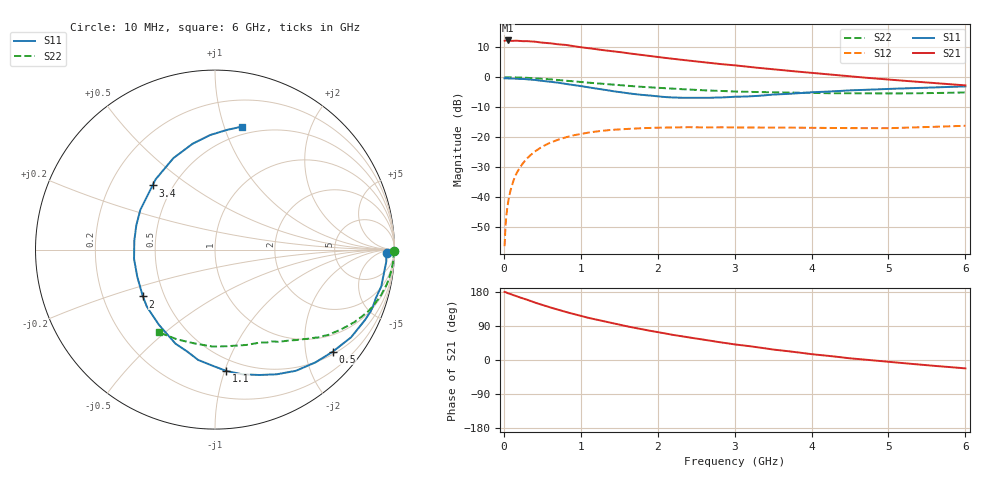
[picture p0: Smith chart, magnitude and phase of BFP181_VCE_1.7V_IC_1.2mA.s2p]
! Infineon Technologies  Discrete & RF Semiconductors
! BFP181
! VCE = 1.7 V,  IC =  1.2 mA
! Common Emitter S-Parameters:  Jan 2016
# GHz  S  MA  R  50
!  f  S11  S21  S12  S22
! GHz  MAG  ANG  MAG  ANG  MAG  ANG  MAG  ANG
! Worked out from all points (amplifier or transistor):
!   210 points, 10 MHz to 6 GHz, reference 50 ohm
!   highest |S21| = 12.3 dB at 50 MHz (marker M1)
!   |S21| within 3 dB of that: start of sweep to 1.221 GHz
!   unconditionally stable (mu >= 1): 2.837 GHz to end of sweep
!   at 185 MHz: K = 0.08, MSG = 21.7 dB, |S12| = -31.2 dB
!   at 1.52 GHz: K = 0.58, MSG = 12.9 dB, |S12| = -17.4 dB
!   at 6 GHz: K = 1.26, MAG = 3.7 dB, |S12| = -16.2 dB
!   S11 on the Smith chart (normalised r, x): 10 MHz: 39, -15; 500 MHz: 0.56, -2.58; 1.1 GHz: 0.40, -1.01; 2 GHz: 0.38, -0.26; 3.4 GHz: 0.39, +0.37; 6 GHz: 0.43, +1.15
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0.01  0.9559 -1.0  4.068 179.5  0.0015 85.9  0.998 -0.3
0.025  0.9551 -2.2  4.105 178.8  0.0037 89.5  0.9952 -0.9
0.05  0.9567 -4.0  4.112 176.5  0.0073 88.5  0.9957 -2.0
0.11  0.9492 -9.2  4.045 172.3  0.0163 84.1  0.994 -4.2
0.19  0.9384 -15.8  4.051 166.5  0.0282 79.7  0.9878 -7.3
0.3  0.9234 -25.1  4.007 159.3  0.0437 74.0  0.9764 -11.4
0.4  0.9019 -32.8  3.929 151.8  0.0569 69.2  0.9607 -15.1
0.5  0.8683 -40.9  3.78 145.2  0.069 64.0  0.9426 -18.4
0.6  0.8415 -48.3  3.7 139.0  0.0804 59.2  0.9222 -21.7
0.8  0.7754 -63.6  3.469 127.0  0.0985 51.0  0.8762 -27.4
1.02  0.7039 -79.0  3.147 115.5  0.1139 42.7  0.8275 -32.7
1.1  0.6789 -84.7  3.072 111.2  0.1188 39.9  0.8106 -34.5
1.5  0.5684 -112.8  2.641 92.9  0.1341 29.1  0.7342 -42.1
1.78  0.5087 -132.1  2.363 81.5  0.1402 23.3  0.6918 -46.3
2  0.4793 -147.0  2.177 73.5  0.1435 19.4  0.6647 -49.4
2.02  0.476 -148.3  2.161 72.8  0.1436 19.1  0.6623 -49.7
2.56  0.4508 176.3  1.801 54.8  0.1451 11.8  0.6068 -57.5
3.1  0.4737 147.4  1.529 38.8  0.1443 6.8  0.572 -65.4
3.4  0.4988 134.2  1.396 30.7  0.1444 5.1  0.562 -70.1
4.1  0.5664 111.8  1.151 13.4  0.1422 2.1  0.5423 -83.1
5.1  0.6436 90.9  0.893 -6.6  0.1417 2.1  0.5352 -104.2
6  0.7021 77.6  0.73 -22.2  0.1543 2.8  0.5569 -124.1
